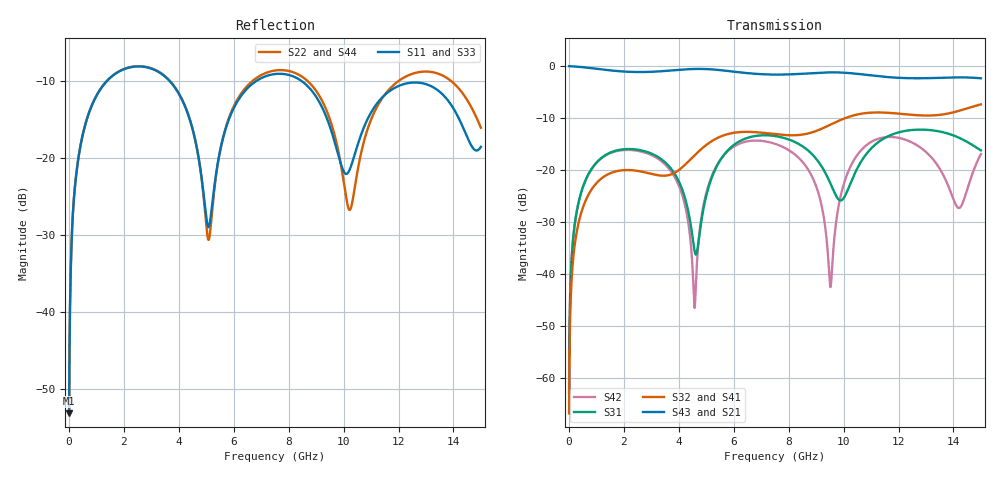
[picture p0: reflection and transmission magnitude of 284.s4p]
! Created with skrf 1.8.0 (http://scikit-rf.org).
# GHz S RI R 50.0
!freq ReS11 ImS11 ReS12 ImS12 ReS13 ImS13
! ReS14 ImS14
! ReS21 ImS21 ReS22 ImS22 ReS23 ImS23
! ReS24 ImS24
! ReS31 ImS31 ReS32 ImS32 ReS33 ImS33
! ReS34 ImS34
! ReS41 ImS41 ReS42 ImS42 ReS43 ImS43
! ReS44 ImS44
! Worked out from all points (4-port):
!   2499 points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, 5 MHz to 15 GHz, reference 50 ohm
!   strongest paths, dB at 5 MHz, 3.476 GHz, 7.19 GHz, 11.1 GHz, 15 GHz:
!     S43: 0.0, -0.9, -1.6, -1.9, -2.3
!     S21: 0.0, -1.0, -1.6, -1.9, -2.3
!     S32: -66.9, -21.1, -12.9, -8.9, -7.4
!     S41: -66.9, -21.1, -12.9, -8.9, -7.4
!     S31: -62.9, -18.4, -13.3, -15.4, -16.2
!     S42: -62.9, -18.8, -14.5, -14.3, -17.0
!   lowest |S11| = -53.1 dB at 5 MHz (marker M1), VSWR 1.00, Z = 50.2 + j0.134 ohm
!   |S11| at or under -10 dB: start of sweep to 1.388 GHz; 3.659 GHz to 6.83 GHz (3.171 GHz wide, 60.5 % of centre); 8.462 GHz to end of sweep
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0.005  0.00177 0.00134  0.9982 -0.00344  8.95e-05 0.000712  -8.68e-05 -0.000445
       0.9982 -0.00344  0.00177 0.00134  -8.68e-05 -0.000445  8.94e-05 0.000712
       8.95e-05 0.000712  -8.68e-05 -0.000445  0.00177 0.00134  0.9982 -0.00344
       -8.68e-05 -0.000445  8.94e-05 0.000712  0.9982 -0.00344  0.00177 0.00134
0.3626511  0.0342 0.0995  0.9526 -0.2449  0.017 0.0474  -0.0138 -0.0289
           0.9526 -0.2449  0.0343 0.0995  -0.0138 -0.0289  0.0164 0.0476
           0.017 0.0474  -0.0138 -0.0289  0.0342 0.0995  0.9526 -0.2449
           -0.0138 -0.0289  0.0164 0.0476  0.9526 -0.2449  0.0343 0.0995
1.825761  0.3384 0.1329  0.3695 -0.8127  0.1533 0.0281  -0.0953 0.0238
          0.3695 -0.8127  0.3406 0.1304  -0.0954 0.0239  0.1483 0.0391
          0.1533 0.0281  -0.0954 0.0239  0.3383 0.1329  0.3696 -0.8127
          -0.0953 0.0238  0.1483 0.0391  0.3696 -0.8127  0.3406 0.1303
4.576907  0.0707 -0.1153  -0.8647 -0.3637  -0.0144 -0.00807  -0.0501 0.1291
          -0.8647 -0.3637  0.0647 -0.1198  -0.0489 0.1296  -0.00456 -0.00108
          -0.0144 -0.00807  -0.0489 0.1296  0.0715 -0.1139  -0.8649 -0.3637
          -0.0501 0.1291  -0.00456 -0.00108  -0.8649 -0.3637  0.0632 -0.1195
7.771988  0.3505 -0.0121  -0.0506 0.8268  0.1698 -0.1152  0.2093 -0.0579
          -0.0506 0.8268  0.3695 -0.0316  0.2092 -0.0606  0.1633 -0.0361
          0.1698 -0.1152  0.2092 -0.0606  0.3492 -0.0121  -0.0516 0.8271
          0.2093 -0.0579  0.1633 -0.0361  -0.0516 0.8271  0.3689 -0.0304
9.522718  0.1185 -0.101  0.7252 0.4802  -0.0498 -0.0547  0.1452 -0.2312
          0.7252 0.4802  0.1022 -0.1403  0.141 -0.2337  0.0071 0.00221
          -0.0498 -0.0547  0.141 -0.2337  0.1195 -0.097  0.7251 0.4812
          0.1452 -0.2312  0.0071 0.00221  0.7251 0.4812  0.0986 -0.1389
15  0.1124 0.0361  -0.6956 -0.3139  -0.1539 -0.0113  -0.1836 0.3867
    -0.6956 -0.3139  0.1087 -0.1135  -0.1737 0.391  0.0598 0.1288
    -0.1539 -0.0113  -0.1737 0.391  0.1178 0.0343  -0.6924 -0.3207
    -0.1836 0.3867  0.0598 0.1288  -0.6924 -0.3207  0.1098 -0.1139
